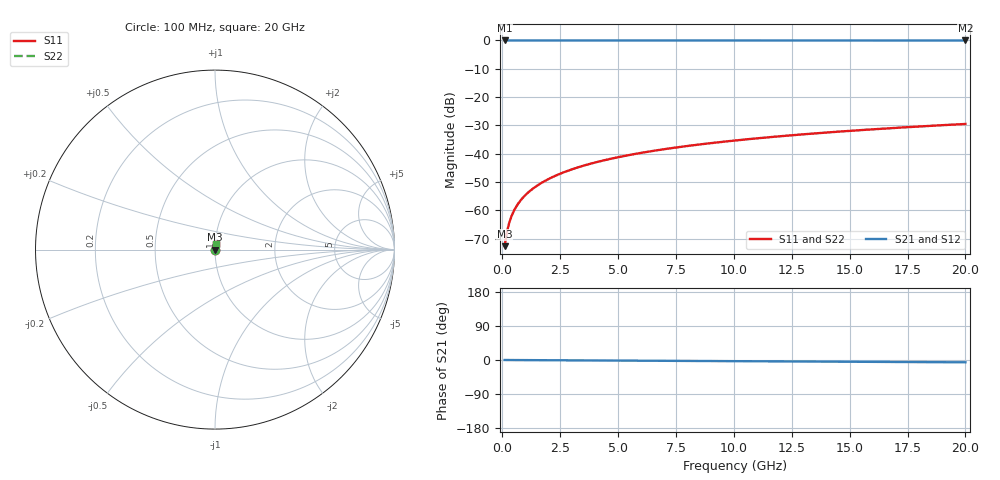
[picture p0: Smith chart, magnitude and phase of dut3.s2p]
! Touchstone file exported from HFSS 2026.1.0
!  File:  C:/ffzhzh/LocalFiles/Ansys_Project_Files/temp_train_TSV_3_1782957761_45308.aedt
!  Generated:  10:04:34 AM Jul  2, 2026
!  Design:  TSV
!  Project:  temp_train_TSV_3_1782957761_45308
! Variables:
!  h_bsmrdl = 2um
!  h_ox = 20um
!  h_rdl = 5um
!  h_sub = 52.03um
!  h_tmrdl = 5um
!  h_tsv = 52.03um
!  h_via = 3um
!  l_bsmrdl = 300um
!  l_sub = 416.42um
!  l_tmrdl = 200um
!  m_sub = 200um
!  pitch = 48.51um
!  r_tsv = 8.21um
!  s_tmrdl = 10um
!  w_bsmrdl = 18um
!  w_sub = 500um
!  w_tmrdl = 12um
!  x_tsv_center1 = 206um
!  x_tsv_center2 = 524um
!  x_tsv_center3 = 736um
!  x_tsv_center4 = 1054um
!  x_tsv_center5 = 1266um
!  x_tsv_center6 = 1584um
# GHz S MA R 50.000000
! Terminal data exported
! Port[1] = TSV1_1_T1
! Port[2] = TSV1_1_T2
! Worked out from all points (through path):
!   200 points, 100 MHz to 20 GHz, reference 50 ohm
!   highest |S21| = 0.00 dB at 100 MHz (marker M1); lowest = 0.0 dB at 20 GHz (marker M2)
!   lowest |S11| = -72.6 dB at 100 MHz (marker M3), VSWR 1.00, Z = 50 + j0.0199 ohm
!   |S11| at or under -10 dB: start of sweep to end of sweep
!   |S22| runs from -72.6 to -29.5 dB; largest |S21 - S12| = 4.3e-15
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0.1  0.0002343 58.2  0.9999 -0.0  0.9999 -0.0  0.0002343 58.2
! Gamma 0 0 0 0
! Port Impedance 50 0 50 0
0.2  0.0004177 71.6  0.9999 -0.1  0.9999 -0.1  0.0004177 71.6
0.3  0.0006078 76.2  0.9999 -0.1  0.9999 -0.1  0.0006078 76.2
0.4  0.0007965 78.4  0.9998 -0.1  0.9998 -0.1  0.0007965 78.4
0.5  0.0009823 79.6  0.9998 -0.2  0.9998 -0.2  0.0009823 79.6
0.6  0.001165 80.4  0.9998 -0.2  0.9998 -0.2  0.001165 80.4
0.7  0.001345 80.9  0.9998 -0.2  0.9998 -0.2  0.001345 80.9
0.8  0.001522 81.4  0.9998 -0.3  0.9998 -0.3  0.001522 81.4
1  0.001872 82.1  0.9997 -0.3  0.9997 -0.3  0.001872 82.1
1.4  0.002562 83.1  0.9997 -0.4  0.9997 -0.4  0.002562 83.1
1.7  0.003077 83.7  0.9997 -0.5  0.9997 -0.5  0.003077 83.7
2  0.003592 84.1  0.9997 -0.6  0.9997 -0.6  0.003592 84.1
2.7  0.004792 84.7  0.9996 -0.8  0.9996 -0.8  0.004792 84.7
3.5  0.006158 85.0  0.9996 -1.1  0.9996 -1.1  0.006158 85.0
4.2  0.007349 85.1  0.9995 -1.3  0.9995 -1.3  0.007349 85.1
5  0.008704 85.1  0.9995 -1.5  0.9995 -1.5  0.008704 85.1
6.8  0.01173 85.0  0.9993 -2.1  0.9993 -2.1  0.01173 85.0
8.3  0.01424 84.8  0.9992 -2.6  0.9992 -2.6  0.01424 84.8
10.1  0.01724 84.5  0.9991 -3.1  0.9991 -3.1  0.01724 84.5
13.4  0.02272 83.8  0.9989 -4.1  0.9989 -4.1  0.02272 83.8
16.7  0.02818 83.0  0.9987 -5.1  0.9987 -5.1  0.02818 83.0
20  0.0336 82.1  0.9984 -6.1  0.9984 -6.1  0.0336 82.1
